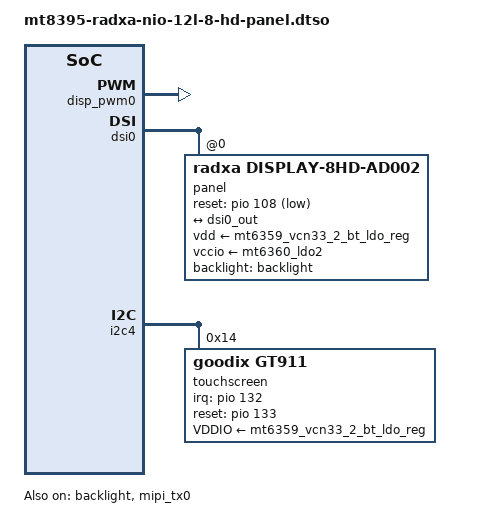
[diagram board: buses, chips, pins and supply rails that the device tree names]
// SPDX-License-Identifier: (GPL-2.0 OR MIT)
/*
 * Radxa Display 8 HD touchscreen module
 * Copyright (C) 2025 Collabora Ltd.
 */

/dts-v1/;
/plugin/;

#include <dt-bindings/gpio/gpio.h>
#include <dt-bindings/interrupt-controller/irq.h>

&backlight {
	status = "okay";
};

&disp_pwm0 {
	pinctrl-names = "default";
	pinctrl-0 = <&pwm0_default_pins>;
	status = "okay";
};

&dsi0 {
	#address-cells = <1>;
	#size-cells = <0>;
	status = "okay";

	panel@0 {
		compatible = "radxa,display-8hd-ad002", "jadard,jd9365da-h3";
		reg = <0>;
		backlight = <&backlight>;
		vdd-supply = <&mt6359_vcn33_2_bt_ldo_reg>;
		vccio-supply = <&mt6360_ldo2>;
		reset-gpios = <&pio 108 GPIO_ACTIVE_LOW>;
		pinctrl-names = "default";
		pinctrl-0 = <&panel_default_pins>;

		port {
			dsi_panel_in: endpoint {
				remote-endpoint = <&dsi0_out>;
			};
		};
	};
};

&dsi0_out {
	remote-endpoint = <&dsi_panel_in>;
};

&i2c4 {
	#address-cells = <1>;
	#size-cells = <0>;

	touchscreen@14 {
		compatible = "goodix,gt911";
		reg = <0x14>;
		interrupts-extended = <&pio 132 IRQ_TYPE_EDGE_RISING>;
		irq-gpios = <&pio 132 GPIO_ACTIVE_HIGH>;
		reset-gpios = <&pio 133 GPIO_ACTIVE_HIGH>;
		VDDIO-supply = <&mt6359_vcn33_2_bt_ldo_reg>;
		pinctrl-names = "default";
		pinctrl-0 = <&touch_pins>;
	};
};

&mipi_tx0 {
	status = "okay";
};

&ovl0_in {
	remote-endpoint = <&vdosys0_ep_main>;
};

&vdosys0 {
	port {
		#address-cells = <1>;
		#size-cells = <0>;

		vdosys0_ep_main: endpoint@0 {
			reg = <0>;
			remote-endpoint = <&ovl0_in>;
		};
	};
};
